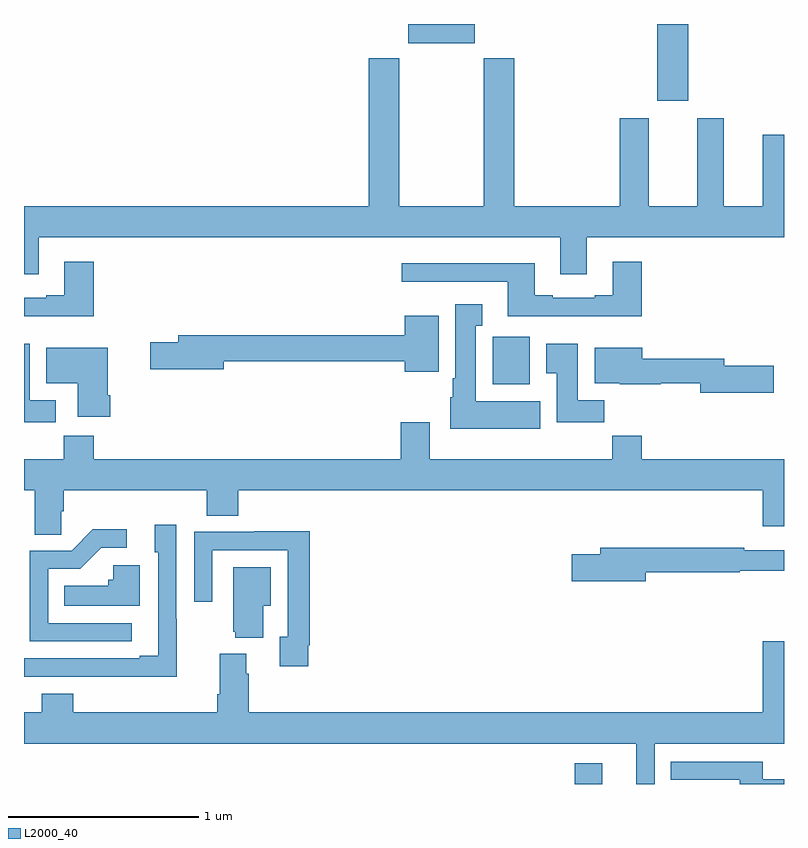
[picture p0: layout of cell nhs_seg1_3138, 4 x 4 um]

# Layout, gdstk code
import gdstk
lib = gdstk.Library(unit=1e-6, precision=1e-09)
def R(c, l, rs):  # rectangles x0, y0, x1, y1
    for r in rs: c.add(gdstk.rectangle(r[:2], r[2:], *l))
def P(c, l, *ps):  # polygons
    for p in ps: c.add(gdstk.Polygon(p, *l))
L2000_40 = (2000, 40)

nhs_seg1_3138 = lib.new_cell('nhs_seg1_3138')
R(nhs_seg1_3138, L2000_40, [(283.898,538.199,284.044,538.309), (283.467,540.302,283.663,540.552), (284.333,541.794,284.497,542.199), (283.022,542.099,283.372,542.199)])
P(nhs_seg1_3138, L2000_40, [(281.077,541.076),(283.823,541.076),(283.823,540.882),(283.963,540.882),(283.963,541.076),(285,541.076),(285,541.615),(284.888,541.615),(284.888,541.24),(284.683,541.24),(284.683,541.702),(284.543,541.702),(284.543,541.24),(284.287,541.24),(284.287,541.702),(284.135,541.702),(284.135,541.24),(283.58,541.24),(283.58,542.02),(283.42,542.02),(283.42,541.24),(282.975,541.24),(282.975,542.02),(282.815,542.02),(282.815,541.24),(281,541.24),(281,540.882),(281.077,540.882)],
  [(281.366,540.949),(281.213,540.949),(281.213,540.772),(281.117,540.772),(281.117,540.759),(281,540.759),(281,540.662),(281.366,540.662)],
  [(284.252,540.949),(284.099,540.949),(284.099,540.772),(284.003,540.772),(284.003,540.759),(283.783,540.759),(283.783,540.772),(283.687,540.772),(283.687,540.94),(282.987,540.94),(282.987,540.843),(283.547,540.843),(283.547,540.662),(284.252,540.662)],
  [(283.717,540.214),(283.378,540.214),(283.378,540.611),(283.411,540.611),(283.411,540.724),(283.271,540.724),(283.271,540.334),(283.256,540.334),(283.256,540.234),(283.244,540.234),(283.244,540.068),(283.717,540.068)],
  [(283.183,540.664),(283.004,540.664),(283.004,540.56),(281.813,540.56),(281.813,540.524),(281.664,540.524),(281.664,540.382),(282.052,540.382),(282.052,540.424),(283.004,540.424),(283.004,540.368),(283.183,540.368)],
  [(281.168,540.22),(281.029,540.22),(281.029,540.517),(281,540.517),(281,540.102),(281.168,540.102)],
  [(284.054,540.22),(283.915,540.22),(283.915,540.517),(283.748,540.517),(283.748,540.361),(283.805,540.361),(283.805,540.102),(284.054,540.102)],
  [(281.453,540.244),(281.44,540.244),(281.44,540.496),(281.117,540.496),(281.117,540.308),(281.282,540.308),(281.282,540.132),(281.453,540.132)],
  [(284.947,540.401),(284.686,540.401),(284.686,540.437),(284.254,540.437),(284.254,540.496),(284.003,540.496),(284.003,540.308),(284.136,540.308),(284.136,540.302),(284.35,540.302),(284.35,540.309),(284.558,540.309),(284.558,540.259),(284.947,540.259)],
  [(281.196,539.635),(281.21,539.635),(281.21,539.744),(281.963,539.744),(281.963,539.611),(282.128,539.611),(282.128,539.744),(284.888,539.744),(284.888,539.556),(285,539.556),(285,539.908),(284.252,539.908),(284.252,540.032),(284.095,540.032),(284.095,539.908),(283.135,539.908),(283.135,540.103),(282.983,540.103),(282.983,539.908),(281.366,539.908),(281.366,540.032),(281.209,540.032),(281.209,539.908),(281,539.908),(281,539.744),(281.057,539.744),(281.057,539.512),(281.196,539.512)],
  [(281.805,539.069),(281.802,539.069),(281.802,539.563),(281.687,539.563),(281.687,539.418),(281.706,539.418),(281.706,538.873),(281.609,538.873),(281.609,538.86),(281,538.86),(281,538.764),(281.341,538.764),(281.341,538.763),(281.805,538.763)],
  [(281.566,539.046),(281.127,539.046),(281.127,539.331),(281.296,539.331),(281.407,539.442),(281.542,539.442),(281.542,539.54),(281.363,539.54),(281.25,539.427),(281.031,539.427),(281.031,538.95),(281.566,538.95)],
  [(282.496,538.93),(282.503,538.93),(282.503,539.528),(282.211,539.528),(282.211,539.526),(281.895,539.526),(281.895,539.157),(281.991,539.157),(281.991,539.43),(282.387,539.43),(282.387,538.974),(282.347,538.974),(282.347,538.818),(282.496,538.818)],
  [(284.272,539.314),(284.768,539.314),(284.768,539.322),(285,539.322),(285,539.43),(284.792,539.43),(284.792,539.443),(284.033,539.443),(284.033,539.409),(283.884,539.409),(283.884,539.267),(284.272,539.267)],
  [(281.608,539.35),(281.469,539.35),(281.469,539.274),(281.443,539.274),(281.443,539.242),(281.212,539.242),(281.212,539.138),(281.608,539.138)],
  [(282.259,539.138),(282.298,539.138),(282.298,539.341),(282.101,539.341),(282.101,539.001),(282.113,539.001),(282.113,538.97),(282.259,538.97)],
  [(282.182,538.778),(282.169,538.778),(282.169,538.885),(282.029,538.885),(282.029,538.672),(282.017,538.672),(282.017,538.576),(281.258,538.576),(281.258,538.675),(281.093,538.675),(281.093,538.576),(281,538.576),(281,538.412),(284.222,538.412),(284.222,538.199),(284.319,538.199),(284.319,538.412),(285,538.412),(285,538.951),(284.888,538.951),(284.888,538.576),(282.182,538.576)],
  [(285,538.224),(284.887,538.224),(284.887,538.317),(284.404,538.317),(284.404,538.221),(284.768,538.221),(284.768,538.199),(285,538.199)])

lib.write_gds('nhs_seg1_3138.gds')
